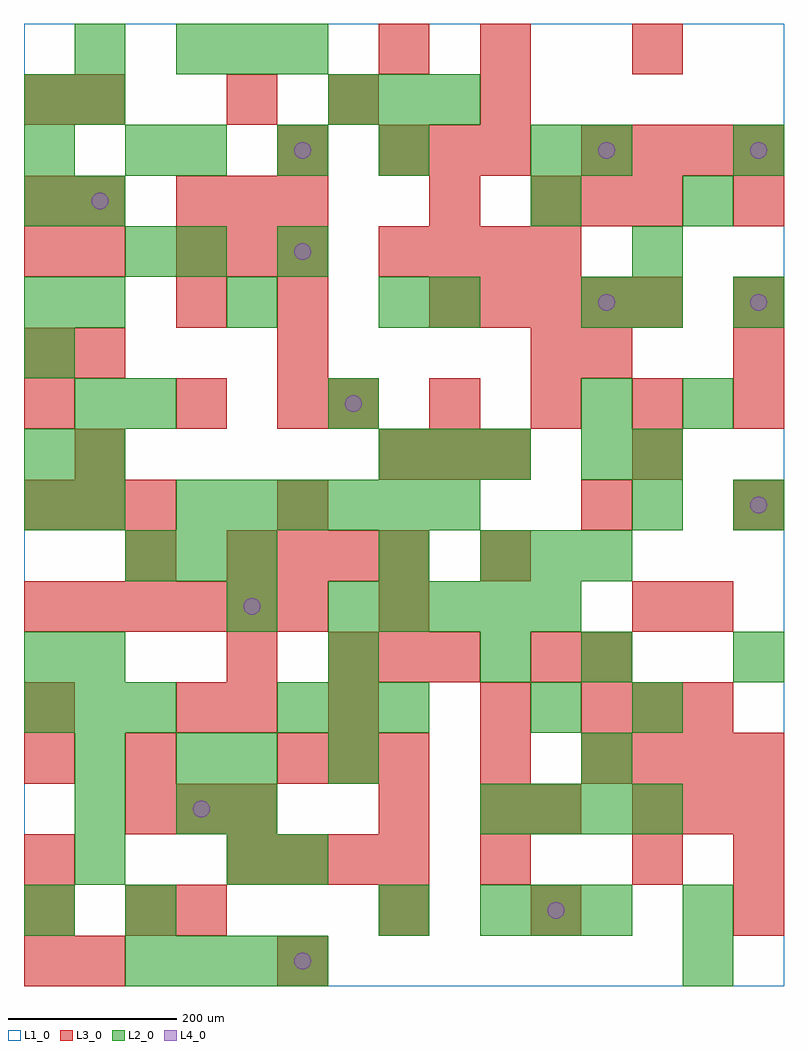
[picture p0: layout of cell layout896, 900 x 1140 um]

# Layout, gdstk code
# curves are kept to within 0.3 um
import gdstk
lib = gdstk.Library(unit=1e-6, precision=1e-09)
def R(c, l, rs):  # rectangles x0, y0, x1, y1
    for r in rs: c.add(gdstk.rectangle(r[:2], r[2:], *l))
def A(c, l, x, y, w, h, nx, ny, dx, dy):  # array of equal rectangles
    R(c, l, [(x+i*dx, y+j*dy, x+i*dx+w, y+j*dy+h) for i in range(nx) for j in range(ny)])
def P(c, l, *ps):  # polygons
    for p in ps: c.add(gdstk.Polygon(p, *l))
L1_0 = (1, 0)
L2_0 = (2, 0)
L3_0 = (3, 0)
L4_0 = (4, 0)

layout896 = lib.new_cell('layout896')
R(layout896, L1_0, [(0,0,900,1140)])
A(layout896, L2_0, 120, 0, 60, 60, 4, 1, 60, 0)
A(layout896, L2_0, 540, 60, 60, 60, 3, 2, 60, 420)
A(layout896, L2_0, 60, 120, 60, 60, 1, 3, 0, 60)
A(layout896, L2_0, 240, 120, 60, 60, 1, 3, 0, 60)
A(layout896, L2_0, 540, 180, 60, 60, 4, 1, 60, 0)
A(layout896, L2_0, 0, 300, 60, 60, 3, 1, 60, 0)
A(layout896, L2_0, 300, 300, 60, 60, 3, 1, 60, 0)
A(layout896, L2_0, 360, 420, 60, 60, 5, 1, 60, 0)
A(layout896, L2_0, 120, 480, 60, 60, 3, 1, 60, 0)
A(layout896, L2_0, 60, 540, 60, 60, 1, 3, 0, 60)
A(layout896, L2_0, 180, 540, 60, 60, 6, 1, 60, 0)
A(layout896, L2_0, 420, 600, 60, 60, 3, 1, 60, 0)
A(layout896, L2_0, 60, 780, 60, 60, 3, 1, 180, 0)
A(layout896, L2_0, 0, 900, 60, 60, 1, 3, 0, 60)
A(layout896, L2_0, 180, 960, 60, 60, 3, 1, 120, 0)
A(layout896, L2_0, 360, 1020, 60, 60, 3, 1, 60, 0)
A(layout896, L2_0, 180, 1080, 60, 60, 3, 1, 60, 0)
R(layout896, L2_0, [(780,0,840,60), (0,60,60,120), (120,60,180,120), (420,60,480,120), (780,60,840,120), (300,120,360,180), (180,180,240,240), (180,240,240,300), (360,240,420,300), (660,240,720,300), (600,300,660,360), (720,300,780,360), (0,360,60,420), (60,360,120,420), (360,360,420,420), (540,360,600,420), (660,360,720,420), (840,360,900,420), (240,420,300,480), (420,480,480,540), (0,540,60,600), (720,540,780,600), (840,540,900,600), (0,600,60,660), (660,600,720,660), (720,600,780,660), (120,660,180,720), (360,660,420,720), (660,660,720,720), (780,660,840,720), (0,720,60,780), (0,780,60,840), (480,780,540,840), (660,780,720,840), (720,780,780,840), (840,780,900,840), (120,840,180,900), (180,840,240,900), (300,840,360,900), (720,840,780,900), (60,900,120,960), (600,900,660,960), (780,900,840,960), (120,960,180,1020), (600,960,660,1020), (660,960,720,1020), (840,960,900,1020), (60,1020,120,1080), (60,1080,120,1140)])
A(layout896, L3_0, 0, 0, 60, 60, 1, 3, 0, 60)
A(layout896, L3_0, 240, 120, 60, 60, 4, 2, 60, 360)
A(layout896, L3_0, 540, 120, 60, 60, 1, 4, 0, 60)
A(layout896, L3_0, 120, 180, 60, 60, 3, 1, 60, 0)
A(layout896, L3_0, 720, 180, 60, 60, 3, 1, 60, 0)
A(layout896, L3_0, 300, 240, 60, 60, 3, 1, 60, 0)
A(layout896, L3_0, 660, 240, 60, 60, 4, 2, 60, 720)
A(layout896, L3_0, 660, 300, 60, 60, 3, 1, 60, 0)
A(layout896, L3_0, 360, 360, 60, 60, 3, 1, 60, 0)
A(layout896, L3_0, 660, 360, 60, 60, 1, 3, 0, 180)
A(layout896, L3_0, 0, 420, 60, 60, 6, 1, 60, 0)
A(layout896, L3_0, 0, 540, 60, 60, 3, 1, 60, 0)
A(layout896, L3_0, 60, 600, 60, 60, 1, 3, 0, 120)
A(layout896, L3_0, 420, 600, 60, 60, 3, 2, 60, 360)
A(layout896, L3_0, 300, 660, 60, 60, 1, 3, 0, 60)
A(layout896, L3_0, 360, 660, 60, 60, 5, 1, 120, 0)
A(layout896, L3_0, 480, 780, 60, 60, 5, 1, 60, 0)
A(layout896, L3_0, 180, 840, 60, 60, 3, 2, 60, 60)
A(layout896, L3_0, 420, 840, 60, 60, 4, 1, 60, 0)
A(layout896, L3_0, 600, 900, 60, 60, 3, 1, 60, 0)
R(layout896, L3_0, [(60,0,120,60), (300,0,360,60), (120,60,180,120), (180,60,240,120), (420,60,480,120), (600,60,660,120), (840,60,900,120), (720,120,780,180), (840,120,900,180), (420,180,480,240), (600,180,660,240), (0,240,60,300), (120,240,180,300), (0,300,60,360), (180,300,240,360), (240,300,300,360), (360,300,420,360), (240,360,300,420), (600,360,660,420), (420,420,480,480), (720,420,780,480), (780,420,840,480), (120,480,180,540), (540,480,600,540), (300,540,360,600), (840,540,900,600), (720,600,780,660), (0,660,60,720), (180,660,240,720), (0,720,60,780), (600,720,660,780), (840,720,900,780), (180,780,240,840), (840,780,900,840), (0,840,60,900), (0,900,60,960), (60,900,120,960), (480,900,540,960), (840,900,900,960), (300,960,360,1020), (0,1020,60,1080), (60,1020,120,1080), (240,1020,300,1080), (360,1020,420,1080), (540,1020,600,1080), (420,1080,480,1140), (540,1080,600,1140), (720,1080,780,1140)])
P(layout896, L4_0, [(100,930),(99.239,933.827),(97.071,937.071),(93.827,939.239),(90,940),(86.173,939.239),(82.929,937.071),(80.761,933.827),(80,930),(80.761,926.173),(82.929,922.929),(86.173,920.761),(90,920),(93.827,920.761),(97.071,922.929),(99.239,926.173)],
  [(220,210),(219.239,213.827),(217.071,217.071),(213.827,219.239),(210,220),(206.173,219.239),(202.929,217.071),(200.761,213.827),(200,210),(200.761,206.173),(202.929,202.929),(206.173,200.761),(210,200),(213.827,200.761),(217.071,202.929),(219.239,206.173)],
  [(280,450),(279.239,453.827),(277.071,457.071),(273.827,459.239),(270,460),(266.173,459.239),(262.929,457.071),(260.761,453.827),(260,450),(260.761,446.173),(262.929,442.929),(266.173,440.761),(270,440),(273.827,440.761),(277.071,442.929),(279.239,446.173)],
  [(340,30),(339.239,33.827),(337.071,37.071),(333.827,39.239),(330,40),(326.173,39.239),(322.929,37.071),(320.761,33.827),(320,30),(320.761,26.173),(322.929,22.929),(326.173,20.761),(330,20),(333.827,20.761),(337.071,22.929),(339.239,26.173)],
  [(340,870),(339.239,873.827),(337.071,877.071),(333.827,879.239),(330,880),(326.173,879.239),(322.929,877.071),(320.761,873.827),(320,870),(320.761,866.173),(322.929,862.929),(326.173,860.761),(330,860),(333.827,860.761),(337.071,862.929),(339.239,866.173)],
  [(340,990),(339.239,993.827),(337.071,997.071),(333.827,999.239),(330,1000),(326.173,999.239),(322.929,997.071),(320.761,993.827),(320,990),(320.761,986.173),(322.929,982.929),(326.173,980.761),(330,980),(333.827,980.761),(337.071,982.929),(339.239,986.173)],
  [(400,690),(399.239,693.827),(397.071,697.071),(393.827,699.239),(390,700),(386.173,699.239),(382.929,697.071),(380.761,693.827),(380,690),(380.761,686.173),(382.929,682.929),(386.173,680.761),(390,680),(393.827,680.761),(397.071,682.929),(399.239,686.173)],
  [(640,90),(639.239,93.827),(637.071,97.071),(633.827,99.239),(630,100),(626.173,99.239),(622.929,97.071),(620.761,93.827),(620,90),(620.761,86.173),(622.929,82.929),(626.173,80.761),(630,80),(633.827,80.761),(637.071,82.929),(639.239,86.173)],
  [(700,810),(699.239,813.827),(697.071,817.071),(693.827,819.239),(690,820),(686.173,819.239),(682.929,817.071),(680.761,813.827),(680,810),(680.761,806.173),(682.929,802.929),(686.173,800.761),(690,800),(693.827,800.761),(697.071,802.929),(699.239,806.173)],
  [(700,990),(699.239,993.827),(697.071,997.071),(693.827,999.239),(690,1000),(686.173,999.239),(682.929,997.071),(680.761,993.827),(680,990),(680.761,986.173),(682.929,982.929),(686.173,980.761),(690,980),(693.827,980.761),(697.071,982.929),(699.239,986.173)],
  [(880,570),(879.239,573.827),(877.071,577.071),(873.827,579.239),(870,580),(866.173,579.239),(862.929,577.071),(860.761,573.827),(860,570),(860.761,566.173),(862.929,562.929),(866.173,560.761),(870,560),(873.827,560.761),(877.071,562.929),(879.239,566.173)],
  [(880,810),(879.239,813.827),(877.071,817.071),(873.827,819.239),(870,820),(866.173,819.239),(862.929,817.071),(860.761,813.827),(860,810),(860.761,806.173),(862.929,802.929),(866.173,800.761),(870,800),(873.827,800.761),(877.071,802.929),(879.239,806.173)],
  [(880,990),(879.239,993.827),(877.071,997.071),(873.827,999.239),(870,1000),(866.173,999.239),(862.929,997.071),(860.761,993.827),(860,990),(860.761,986.173),(862.929,982.929),(866.173,980.761),(870,980),(873.827,980.761),(877.071,982.929),(879.239,986.173)])

lib.write_gds('layout896.gds')
